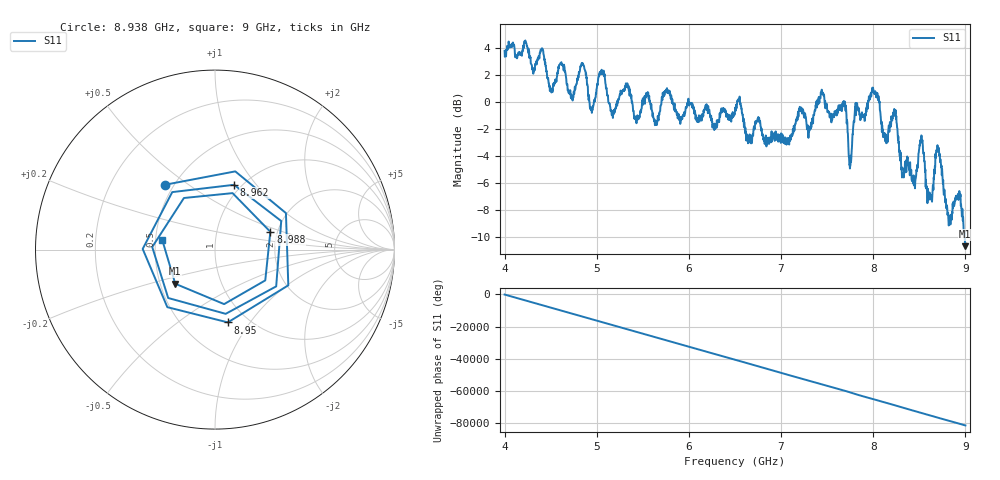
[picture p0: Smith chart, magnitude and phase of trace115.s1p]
! Created with skrf 1.8.0 (http://scikit-rf.org).
# Hz S RI R 50.0
!freq ReS11 ImS11
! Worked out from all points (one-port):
!   1601 points, 4 GHz to 9 GHz, reference 50 ohm
!   lowest |S11| = -10.7 dB at 8.997 GHz (marker M1), VSWR 1.82, Z = 29.9 - j12.5 ohm
!   |S11| at or under -10 dB: 8.992765 GHz to end of sweep
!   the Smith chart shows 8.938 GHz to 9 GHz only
!   S11 on the Smith chart (normalised r, x): 8.938 GHz: 0.45, +0.41; 8.95 GHz: 0.81, -0.79; 8.962 GHz: 0.92, +0.78; 8.988 GHz: 1.83, +0.41; 9 GHz: 0.54, +0.07
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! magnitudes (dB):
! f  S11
! 4 GHz  3.8
! 4.406 GHz  3.9
! 4.509 GHz  0.7
! 4.625 GHz  2.8
! 4.728 GHz  0.2
! 4.853 GHz  2.8
! 4.944 GHz  -0.6
! 5.05 GHz  2.2
! 5.25 GHz  0.6
! 5.875 GHz  -0.9
! 6.5 GHz  -0.7
! 7.125 GHz  -2.5
! 7.444 GHz  0.7
! 7.688 GHz  -0.3
! 7.75 GHz  -4.8
! 7.812 GHz  -1.0
! 8.009 GHz  0.7
! 8.375 GHz  -4.1
! 8.525 GHz  -2.5
! 8.612 GHz  -6.7
! 8.7 GHz  -3.5
! 8.816 GHz  -8.7
! 8.938 GHz  -6.8
! 8.95 GHz  -7.7
! 8.962 GHz  -8.5
! 8.988 GHz  -9.8
! 8.997 GHz  -10.7
! 9 GHz  -10.5
